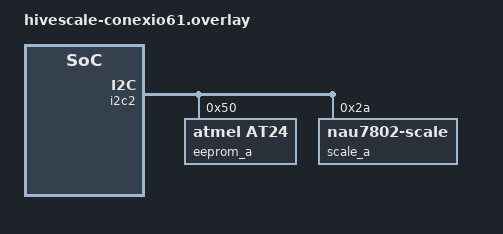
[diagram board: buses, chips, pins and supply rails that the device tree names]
/*
 * Copyright (c) 2025 Achim Kraus CloudCoap.net
 *
 * See the NOTICE file(s) distributed with this work for additional
 * information regarding copyright ownership.
 *
 * This program and the accompanying materials are made available under the
 * terms of the Eclipse Public License 2.0 which is available at
 * http: //www.eclipse.org/legal/epl-2.0
 *
 * SPDX-License-Identifier: EPL-2.0
 */

/*
 * Usage:
 *
 * Usage (NCS 2.9.1):
 *
 * west build -d build_conexio_stratus_pro_nrf9161_ns -b conexio_stratus_pro/nrf9161/ns --pristine -- \
 *    -DOVERLAY_CONFIG="60min0-prj.conf;uart-prj.conf;hivescale-prj.conf" \
 *    -DDTC_OVERLAY_FILE="hivescale-conexio61.overlay" -DCONFIG_BATTERY_TYPE_ENELOOP_2000_MAH=y
 */

#include "boards/conexio_stratus_pro_nrf9161_ns.overlay"

&i2c2 {

	eeprom_a: eeprom@50 {
		/* AT24HC04B (4 kbit eeprom 512x8 bit) */
		/* NOTE: the 9th address bit collides with the 0x51 of the feather clock chip. */
		compatible = "atmel,at24";
		reg = <0x50>;
		size = <512>;
		pagesize = <16>;
		address-width = <8>;
		timeout = <5>;
	};

	scale_a: scale@2a {
		compatible = "nau7802-scale";
		reg = <0x2a>;
		avref_mv = <2700>;
		ext_avref_mv = <0>;
		gain = <32>;
		min_divider = <500>;
		max_dither = <50>;
		internal_oscilator;
		pga_cap;
//		calibration_storage = <&eeprom_a>;
	};

};

/    {

	aliases {
		scale-a = &scale_a;
//		/delete-property/ regulator-3v3; 
	};

};
